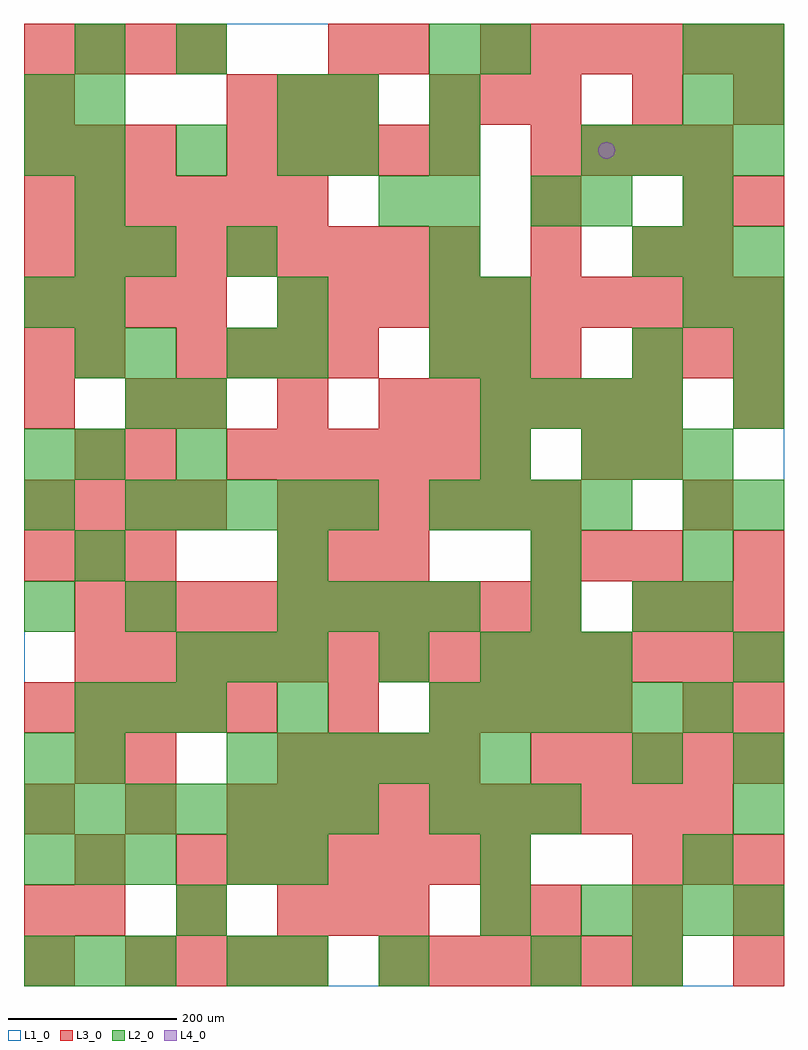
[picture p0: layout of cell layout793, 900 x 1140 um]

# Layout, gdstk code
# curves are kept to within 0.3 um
import gdstk
lib = gdstk.Library(unit=1e-6, precision=1e-09)
def R(c, l, rs):  # rectangles x0, y0, x1, y1
    for r in rs: c.add(gdstk.rectangle(r[:2], r[2:], *l))
def A(c, l, x, y, w, h, nx, ny, dx, dy):  # array of equal rectangles
    R(c, l, [(x+i*dx, y+j*dy, x+i*dx+w, y+j*dy+h) for i in range(nx) for j in range(ny)])
def P(c, l, *ps):  # polygons
    for p in ps: c.add(gdstk.Polygon(p, *l))
L1_0 = (1, 0)
L2_0 = (2, 0)
L3_0 = (3, 0)
L4_0 = (4, 0)

layout793 = lib.new_cell('layout793')
R(layout793, L1_0, [(0,0,900,1140)])
A(layout793, L2_0, 0, 0, 60, 60, 3, 2, 60, 120)
A(layout793, L2_0, 660, 60, 60, 60, 4, 2, 60, 900)
A(layout793, L2_0, 300, 120, 60, 60, 3, 1, 240, 0)
A(layout793, L2_0, 0, 180, 60, 60, 7, 1, 60, 0)
A(layout793, L2_0, 480, 180, 60, 60, 3, 1, 60, 0)
A(layout793, L2_0, 240, 240, 60, 60, 6, 1, 60, 0)
A(layout793, L2_0, 60, 300, 60, 60, 3, 1, 60, 0)
A(layout793, L2_0, 480, 300, 60, 60, 6, 1, 60, 0)
A(layout793, L2_0, 180, 360, 60, 60, 3, 1, 60, 0)
A(layout793, L2_0, 540, 360, 60, 60, 3, 1, 60, 0)
A(layout793, L2_0, 300, 420, 60, 60, 4, 1, 60, 0)
A(layout793, L2_0, 780, 420, 60, 60, 1, 3, 0, 60)
A(layout793, L2_0, 60, 480, 60, 60, 1, 3, 0, 120)
A(layout793, L2_0, 120, 540, 60, 60, 5, 1, 60, 0)
A(layout793, L2_0, 480, 540, 60, 60, 4, 1, 60, 0)
A(layout793, L2_0, 0, 600, 60, 60, 1, 3, 0, 180)
A(layout793, L2_0, 660, 600, 60, 60, 3, 1, 60, 0)
A(layout793, L2_0, 540, 660, 60, 60, 4, 1, 60, 0)
A(layout793, L2_0, 840, 660, 60, 60, 1, 4, 0, 60)
A(layout793, L2_0, 60, 780, 60, 60, 1, 3, 0, 60)
A(layout793, L2_0, 780, 780, 60, 60, 1, 3, 0, 60)
A(layout793, L2_0, 240, 840, 60, 60, 3, 1, 240, 0)
A(layout793, L2_0, 480, 900, 60, 60, 1, 4, 0, 60)
A(layout793, L2_0, 60, 960, 60, 60, 3, 1, 120, 0)
R(layout793, L2_0, [(240,0,300,60), (300,0,360,60), (420,0,480,60), (600,0,660,60), (720,0,780,60), (180,60,240,120), (540,60,600,120), (240,120,300,180), (840,180,900,240), (0,240,60,300), (60,240,120,300), (720,240,780,300), (840,240,900,300), (300,300,360,360), (420,360,480,420), (840,360,900,420), (0,420,60,480), (120,420,180,480), (600,420,660,480), (720,420,780,480), (300,480,360,540), (600,480,660,540), (0,540,60,600), (840,540,900,600), (180,600,240,660), (540,600,600,660), (120,660,180,720), (180,660,240,720), (120,720,180,780), (240,720,300,780), (300,720,360,780), (480,720,540,780), (540,720,600,780), (720,720,780,780), (300,780,360,840), (480,780,540,840), (540,780,600,840), (120,840,180,900), (420,900,480,960), (600,900,660,960), (660,900,720,960), (360,960,420,1020), (0,1020,60,1080), (60,1020,120,1080), (300,1020,360,1080), (360,1020,420,1080), (780,1020,840,1080), (840,1020,900,1080), (60,1080,120,1140), (180,1080,240,1140), (540,1080,600,1140), (780,1080,840,1140), (840,1080,900,1140)])
A(layout793, L3_0, 120, 0, 60, 60, 4, 1, 60, 0)
A(layout793, L3_0, 420, 0, 60, 60, 6, 1, 60, 0)
A(layout793, L3_0, 60, 60, 60, 60, 3, 1, 120, 0)
A(layout793, L3_0, 600, 60, 60, 60, 3, 1, 120, 0)
A(layout793, L3_0, 180, 120, 60, 60, 7, 1, 60, 0)
A(layout793, L3_0, 720, 120, 60, 60, 3, 3, 60, 300)
A(layout793, L3_0, 0, 180, 60, 60, 3, 1, 120, 0)
A(layout793, L3_0, 300, 180, 60, 60, 9, 1, 60, 0)
A(layout793, L3_0, 300, 240, 60, 60, 4, 1, 60, 0)
A(layout793, L3_0, 600, 240, 60, 60, 5, 1, 60, 0)
A(layout793, L3_0, 0, 300, 60, 60, 5, 1, 60, 0)
A(layout793, L3_0, 480, 300, 60, 60, 4, 1, 60, 0)
A(layout793, L3_0, 840, 300, 60, 60, 1, 3, 0, 180)
A(layout793, L3_0, 60, 360, 60, 60, 14, 1, 60, 0)
A(layout793, L3_0, 60, 420, 60, 60, 10, 1, 60, 0)
A(layout793, L3_0, 0, 480, 60, 60, 3, 2, 60, 480)
A(layout793, L3_0, 300, 480, 60, 60, 3, 1, 60, 0)
A(layout793, L3_0, 600, 480, 60, 60, 3, 1, 60, 0)
A(layout793, L3_0, 0, 540, 60, 60, 4, 2, 60, 240)
A(layout793, L3_0, 300, 540, 60, 60, 6, 1, 60, 0)
A(layout793, L3_0, 240, 600, 60, 60, 6, 1, 60, 0)
A(layout793, L3_0, 180, 660, 60, 60, 3, 1, 120, 0)
A(layout793, L3_0, 480, 660, 60, 60, 5, 1, 60, 0)
A(layout793, L3_0, 180, 720, 60, 60, 4, 1, 60, 0)
A(layout793, L3_0, 480, 720, 60, 60, 3, 2, 60, 300)
A(layout793, L3_0, 300, 780, 60, 60, 10, 1, 60, 0)
A(layout793, L3_0, 0, 840, 60, 60, 9, 1, 60, 0)
A(layout793, L3_0, 0, 900, 60, 60, 6, 1, 60, 0)
A(layout793, L3_0, 240, 960, 60, 60, 5, 1, 60, 0)
A(layout793, L3_0, 600, 960, 60, 60, 4, 1, 60, 0)
A(layout793, L3_0, 240, 1020, 60, 60, 3, 1, 60, 0)
A(layout793, L3_0, 0, 1080, 60, 60, 4, 1, 60, 0)
A(layout793, L3_0, 540, 1080, 60, 60, 6, 1, 60, 0)
R(layout793, L3_0, [(0,0,60,60), (840,0,900,60), (0,60,60,120), (360,60,420,120), (420,60,480,120), (540,60,600,120), (60,120,120,180), (60,240,120,300), (120,240,180,300), (360,300,420,360), (780,300,840,360), (780,540,840,600), (60,600,120,660), (120,600,180,660), (660,600,720,660), (720,600,780,660), (0,660,60,720), (120,660,180,720), (0,720,60,780), (60,720,120,780), (600,840,660,900), (720,840,780,900), (780,840,840,900), (600,900,660,960), (780,900,840,960), (840,900,900,960), (0,1020,60,1080), (720,1020,780,1080), (840,1020,900,1080), (360,1080,420,1140), (420,1080,480,1140)])
P(layout793, L4_0, [(700,990),(699.239,993.827),(697.071,997.071),(693.827,999.239),(690,1000),(686.173,999.239),(682.929,997.071),(680.761,993.827),(680,990),(680.761,986.173),(682.929,982.929),(686.173,980.761),(690,980),(693.827,980.761),(697.071,982.929),(699.239,986.173)])

lib.write_gds('layout793.gds')
